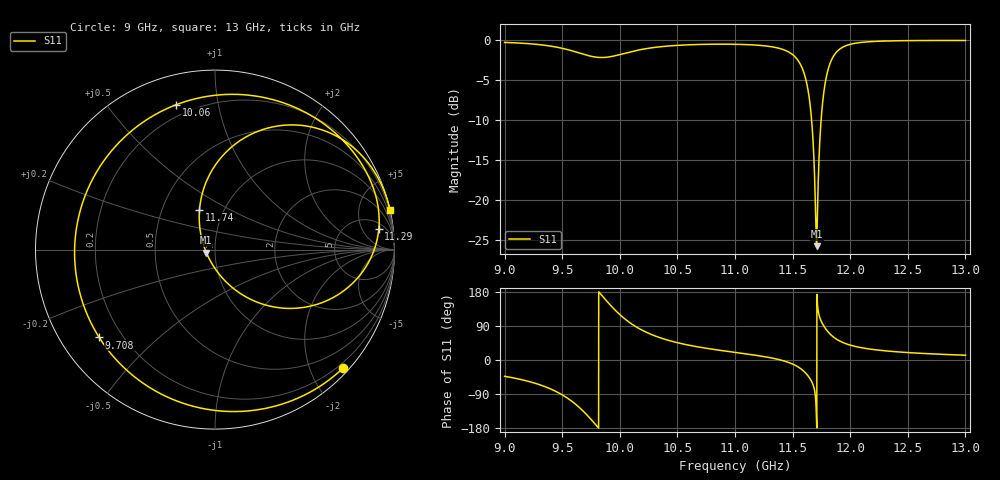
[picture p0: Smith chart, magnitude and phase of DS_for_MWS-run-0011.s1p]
! TOUCHSTONE file generated by CST DESIGN STUDIO
! Date and time: Tue Feb  4 18:27:35 2025
! Project name: C:\Work\MatlabApps\UnitCellOptimizationMatlab\CST\unitcell.cst
! Tree item: Tasks\Sweep1\SPara1\S-Parameters
! Header version: 2024
! Port assignment regex: !\s*Touchstone port\s*([0-9]+)\s*=\s*(CST MWS port|CST DES external port|CST DES block port)\s*(.+)\s* \(\"(.*)\"\)(\s*mode\s*([0-9]+))?.*
! Touchstone port assignment:
! Touchstone port 1 = CST DES external port 1 ("")
# GHz S MA R 50
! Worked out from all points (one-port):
!   4001 points, 9 GHz to 13 GHz, reference 50 ohm
!   lowest |S11| = -25.8 dB at 11.71 GHz (marker M1), VSWR 1.11, Z = 45.4 - j1.49 ohm
!   |S11| at or under -10 dB: 11.67 GHz to 11.75 GHz (82.42 MHz wide, 0.704 % of centre)
!   S11 on the Smith chart (normalised r, x): 9 GHz: 0.11, -2.54; 9.708 GHz: 0.12, -0.33; 10.06 GHz: 0.14, +0.76; 11.29 GHz: 7, +11; 11.74 GHz: 0.77, +0.36; 13 GHz: 0.03, +9.04
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9  0.9717 -43.0
9.278  0.9449 -62.6
9.5  0.8924 -91.9
9.609  0.8509 -115.0
9.708  0.8099 -142.8
9.779  0.7881 -166.6
9.845  0.781 170.0
10  0.8149 119.9
10.058  0.8356 105.0
10.264  0.8961 68.6
10.5  0.9311 45.7
11  0.9458 20.1
11.287  0.9196 7.1
11.5  0.8146 -10.7
11.573  0.696 -23.5
11.636  0.4779 -42.6
11.666  0.31 -57.3
11.695  0.111 -88.1
11.708  0.05107 -161.2
11.72  0.1123 134.1
11.737  0.2395 111.1
11.772  0.4782 89.2
11.829  0.7293 67.4
11.906  0.8785 50.5
12  0.9453 39.3
12.184  0.9835 28.3
12.5  0.9972 19.6
13  0.9992 12.6
